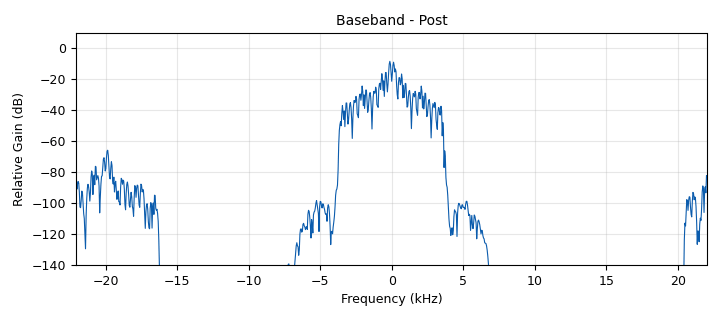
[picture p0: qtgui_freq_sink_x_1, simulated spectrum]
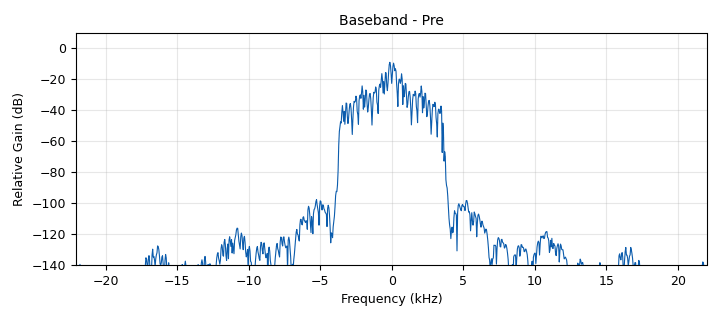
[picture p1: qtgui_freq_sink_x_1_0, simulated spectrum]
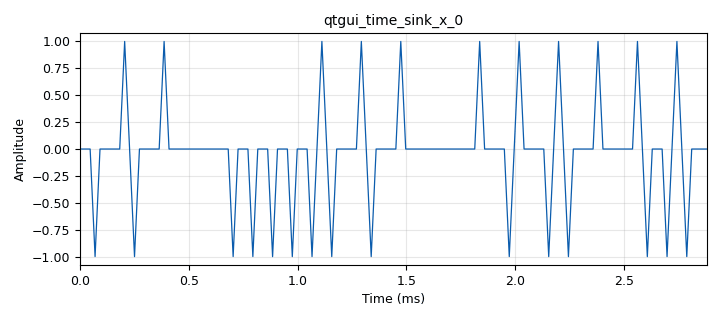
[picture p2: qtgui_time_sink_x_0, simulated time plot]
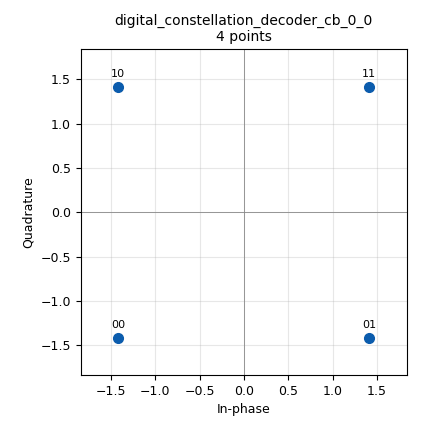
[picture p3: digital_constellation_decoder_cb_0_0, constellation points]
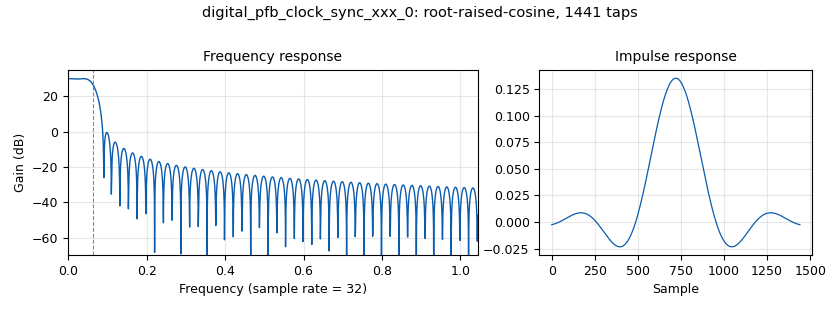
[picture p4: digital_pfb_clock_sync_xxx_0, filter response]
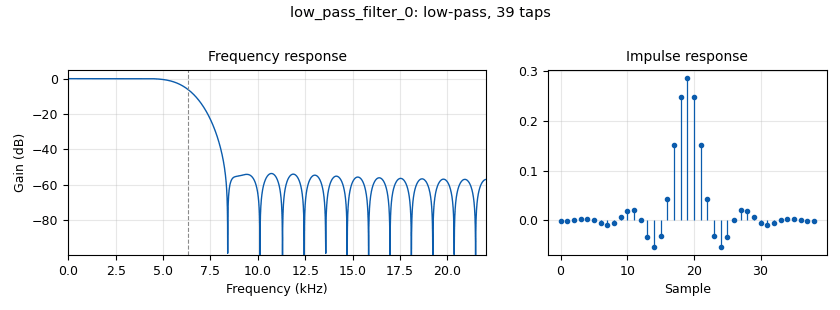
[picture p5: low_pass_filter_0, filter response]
options:
  parameters:
    author: Rosa
    copyright: Apache 2
    generate_options: qt_gui
    id: apay
    output_language: python
    title: apay
  states: {}

blocks:
- name: alpha
  id: variable
  parameters:
    value: '0.35'
  states: {}
- name: delay
  id: variable_qtgui_range
  parameters:
    label: Delay
    orient: Qt.Horizontal
    start: '0'
    step: '1'
    stop: '200'
    value: '50'
  states: {}
- name: eb
  id: variable
  parameters:
    value: '0.25'
  states: {}
- name: eq_gain
  id: variable_qtgui_range
  parameters:
    label: 'Equalizer: rate'
    orient: Qt.Horizontal
    start: '0.0'
    step: '0.001'
    stop: '0.1'
    value: '0.01'
    widget: slider
  states: {state: disabled}
- name: mod_freq
  id: variable
  parameters:
    value: '10000'
  states: {}
- name: nfilts
  id: variable
  parameters:
    value: '32'
  states: {}
- name: ntaps
  id: variable
  parameters:
    value: '45'
  states: {}
- name: qpsk
  id: variable_constellation
  parameters:
    const_points: '[(-3-3j), (-1-3j), (1-3j), (3-3j), (-3-1j), (-1-1j), (1-1j), (3-1j), (-3+1j), (-1+1j), (1+1j), (3+1j), (-3+3j), (-1+3j), (1+3j), (3+3j)]'
    dims: '4'
    precision: '8'
    sym_map: '[0, 4, 12, 8, 1, 5, 13, 9, 3, 7, 15, 11, 2, 6, 14, 10]'
    type: qpsk
  states: {}
- name: rrc_rx
  id: variable
  parameters:
    value: firdes.root_raised_cosine(1, sps, 1, eb, ntaps)
  states: {}
- name: rrc_taps
  id: variable
  parameters:
    value: firdes.root_raised_cosine(nfilts, nfilts, 1.0/float(sps), 0.35, 45*nfilts)
  states: {}
- name: rrc_taps_0
  id: variable
  parameters:
    value: firdes.root_raised_cosine(nfilts, nfilts, 1.0/float(sps), alpha, 11*sps*nfilts)
  states: {}
- name: samp_rate
  id: variable
  parameters:
    value: '44100'
  states: {}
- name: sps
  id: variable
  parameters:
    value: '8'
  states: {}
- name: taps
  id: variable
  parameters:
    value: '[1.0 + 0.0j, ]'
  states: {}
- name: analog_random_source_x_0
  id: analog_random_source_x
  parameters:
    max: '2'
    min: '0'
    num_samps: '1000'
    repeat: 'True'
    type: byte
  states: {}
- name: analog_sig_source_x_0
  id: analog_sig_source_x
  parameters:
    amp: '1.44'
    freq: mod_freq
    offset: '0'
    phase: '0'
    samp_rate: samp_rate
    type: float
    waveform: analog.GR_COS_WAVE
  states: {}
- name: analog_sig_source_x_0_0
  id: analog_sig_source_x
  parameters:
    amp: '-1.44'
    freq: mod_freq
    offset: '0'
    phase: '0'
    samp_rate: samp_rate
    type: float
    waveform: analog.GR_SIN_WAVE
  states: {}
- name: audio_source_0
  id: audio_source
  parameters:
    samp_rate: samp_rate
  states: {state: disabled}
- name: blocks_add_xx_0
  id: blocks_add_xx
  parameters:
    type: float
  states: {}
- name: blocks_char_to_float_0
  id: blocks_char_to_float
  parameters:
    scale: '1'
  states: {state: disabled}
- name: blocks_char_to_float_0_0
  id: blocks_char_to_float
  parameters:
    scale: '1'
  states: {state: disabled}
- name: blocks_char_to_float_0_0_0
  id: blocks_char_to_float
  parameters:
    scale: '1'
  states: {}
- name: blocks_char_to_float_0_0_0_0
  id: blocks_char_to_float
  parameters:
    scale: '1'
  states: {}
- name: blocks_complex_to_imag_0
  id: blocks_complex_to_imag
  parameters: {}
  states: {}
- name: blocks_complex_to_real_0
  id: blocks_complex_to_real
  parameters: {}
  states: {}
- name: blocks_delay_0
  id: blocks_delay
  parameters:
    delay: int(delay)
    type: float
  states: {}
- name: blocks_float_to_complex_1
  id: blocks_float_to_complex
  parameters: {}
  states: {}
- name: blocks_float_to_complex_2
  id: blocks_float_to_complex
  parameters: {}
  states: {}
- name: blocks_float_to_complex_2_0
  id: blocks_float_to_complex
  parameters: {}
  states: {state: disabled}
- name: blocks_multiply_xx_0
  id: blocks_multiply_xx
  parameters:
    type: float
  states: {}
- name: blocks_multiply_xx_0_1
  id: blocks_multiply_xx
  parameters:
    type: float
  states: {}
- name: blocks_multiply_xx_2
  id: blocks_multiply_xx
  parameters:
    type: complex
  states: {}
- name: blocks_sub_xx_0
  id: blocks_sub_xx
  parameters:
    type: float
  states: {}
- name: blocks_throttle_0
  id: blocks_throttle
  parameters:
    samples_per_second: samp_rate
    type: complex
  states: {}
- name: blocks_unpack_k_bits_bb_0
  id: blocks_unpack_k_bits_bb
  parameters:
    k: '8'
  states: {state: disabled}
- name: blocks_unpack_k_bits_bb_0_0
  id: blocks_unpack_k_bits_bb
  parameters:
    k: '2'
  states: {}
- name: blocks_unpack_k_bits_bb_0_0_0
  id: blocks_unpack_k_bits_bb
  parameters:
    k: '8'
  states: {}
- name: blocks_unpack_k_bits_bb_0_0_1
  id: blocks_unpack_k_bits_bb
  parameters:
    k: '2'
  states: {state: disabled}
- name: blocks_vector_source_x_1
  id: blocks_vector_source_x
  parameters:
    repeat: 'True'
    type: byte
    vector: '[5, 1, 5,1]*50'
  states: {state: disabled}
- name: blocks_wavfile_sink_0
  id: blocks_wavfile_sink
  parameters:
    bits_per_sample: '16'
    file: /home/david/apay/test-3.wav
    samp_rate: samp_rate
  states: {state: disabled}
- name: channels_channel_model_0
  id: channels_channel_model
  parameters:
    epsilon: '1'
    freq_offset: '0'
    noise_voltage: '0'
    seed: '0'
    taps: taps
  states: {state: disabled}
- name: digital_cma_equalizer_cc_0
  id: digital_cma_equalizer_cc
  parameters:
    modulus: '1'
    mu: '0.01'
    num_taps: '15'
    sps: '2'
  states: {}
- name: digital_constellation_decoder_cb_0_0
  id: digital_constellation_decoder_cb
  parameters:
    constellation: qpsk
  states: {}
- name: digital_constellation_modulator_0
  id: digital_constellation_modulator
  parameters:
    constellation: qpsk
    differential: 'True'
    excess_bw: alpha
    samples_per_symbol: sps
  states: {}
- name: digital_constellation_receiver_cb_0
  id: digital_constellation_receiver_cb
  parameters:
    constellation: qpsk
    fmax: '1.5'
    fmin: '0.5'
    loop_bw: '0.06'
  states: {state: disabled}
- name: digital_costas_loop_cc_0
  id: digital_costas_loop_cc
  parameters:
    order: '4'
    w: '0.628'
  states: {}
- name: digital_diff_decoder_bb_0_0
  id: digital_diff_decoder_bb
  parameters:
    modulus: '4'
  states: {}
- name: digital_map_bb_0
  id: digital_map_bb
  parameters:
    map: '[0,1,2,3]'
  states: {}
- name: digital_map_bb_0_0
  id: digital_map_bb
  parameters:
    map: '[0,1,2,3]'
  states: {state: disabled}
- name: digital_pfb_clock_sync_xxx_0
  id: digital_pfb_clock_sync_xxx
  parameters:
    filter_size: nfilts
    init_phase: nfilts/2
    loop_bw: '0.628'
    max_dev: '1.5'
    osps: '1'
    sps: sps
    taps: rrc_taps
    type: ccf
  states: {}
- name: digital_symbol_sync_xx_0
  id: digital_symbol_sync_xx
  parameters:
    damping: '1.0'
    loop_bw: '0.045'
    max_dev: '1.5'
    osps: '1'
    resamp_type: digital.IR_MMSE_8TAP
    sps: sps
    ted_gain: '1.0'
    ted_type: digital.TED_MUELLER_AND_MULLER
    type: cc
  states: {state: disabled}
- name: epy_block_0
  id: epy_block
  parameters:
    _source_code: |
      import numpy as np
      from gnuradio import gr

      import pmt
      import base64


      class blk(
          gr.sync_block
      ):  # other base classes are basic_block, decim_block, interp_block
          """Embedded Python Block example - a simple multiply const"""

          def __init__(self):  # only default arguments here
              """arguments to this function show up as parameters in GRC"""
              gr.sync_block.__init__(
                  self,
                  name="Embedded Python Block",  # will show up in GRC
                  in_sig=None,
                  out_sig=[np.ubyte],
              )
              self.message_port_register_in(pmt.intern("msg_in"))
              self.set_msg_handler(pmt.intern("msg_in"), self.handle_msg)

              # if an attribute with the same name as a parameter is found,
              # a callback is registered (properties work, too).
              # self.toSend = np.array([], dtype=np.uint8)
              self.toSend = []

          def handle_msg(self, msg):
              # temp = pmt.symbol_to_string(msg)
              # print(temp)
              # out = np.frombuffer(
              #     base64.binascii.a2b_base64(temp.encode("ascii")), dtype=np.ubyte
              # )
              # self.toSend = np.append(self.toSend, out)
              t = pmt.to_python(msg)
              try:
                  self.toSend.extend(t)
              except TypeError:
                  self.toSend = t

          def work(self, input_items, output_items):
              try:
                  toSendSize = len(self.toSend)
              except TypeError:
                  toSendSize = 0
              if toSendSize == 0:
                  return 0

              for i, byteToSend in enumerate(self.toSend):
                  output_items[0][i] = byteToSend
                  # for x in range(8):
                  #     output_items[0][x + i * 8] = (byteToSend >> x) & 1
                  # print(byteToSend)

              self.toSend = []
              return toSendSize
  states: {state: disabled}
- name: fir_filter_xxx_0
  id: fir_filter_xxx
  parameters:
    decim: '1'
    taps: rrc_rx
    type: ccf
  states: {state: disabled}
- name: low_pass_filter_0
  id: low_pass_filter
  parameters:
    cutoff_freq: (samp_rate//(sps-1))
    decim: '1'
    gain: '1'
    samp_rate: samp_rate
    type: fir_filter_ccf
    width: (samp_rate//(2*sps))
    win: firdes.WIN_HAMMING
  states: {}
- name: qtgui_const_sink_x_1
  id: qtgui_const_sink_x
  parameters:
    nconnections: '2'
    size: '1024'
    type: complex
  states: {state: disabled}
- name: qtgui_const_sink_x_1_0
  id: qtgui_const_sink_x
  parameters:
    size: '2048'
    type: complex
  states: {state: disabled}
- name: qtgui_freq_sink_x_0
  id: qtgui_freq_sink_x
  parameters:
    bw: samp_rate
    fc: '0'
    fftsize: '1024'
    nconnections: '2'
    type: complex
    wintype: firdes.WIN_BLACKMAN_hARRIS
  states: {state: disabled}
- name: qtgui_freq_sink_x_1
  id: qtgui_freq_sink_x
  parameters:
    bw: samp_rate
    fc: '0'
    fftsize: '1024'
    name: '"Baseband - Post"'
    type: complex
    wintype: firdes.WIN_BLACKMAN_hARRIS
  states: {}
- name: qtgui_freq_sink_x_1_0
  id: qtgui_freq_sink_x
  parameters:
    bw: samp_rate
    fc: '0'
    fftsize: '1024'
    name: '"Baseband - Pre"'
    type: complex
    wintype: firdes.WIN_BLACKMAN_hARRIS
  states: {}
- name: qtgui_time_sink_x_0
  id: qtgui_time_sink_x
  parameters:
    size: '128'
    srate: samp_rate
    type: float
  states: {}
- name: qtgui_time_sink_x_1
  id: qtgui_time_sink_x
  parameters:
    nconnections: '2'
    size: '1024'
    srate: samp_rate
    type: float
  states: {state: disabled}
- name: qtgui_time_sink_x_1_0
  id: qtgui_time_sink_x
  parameters:
    size: '1024'
    srate: samp_rate
    type: float
  states: {state: disabled}
- name: wav_source
  id: blocks_wavfile_source
  parameters:
    file: /home/david/apay/test-3.wav
    repeat: 'True'
  states: {state: disabled}
- name: zeromq_pub_sink_0
  id: zeromq_pub_sink
  parameters:
    address: tcp://127.0.0.1:4030
    timeout: '100'
    type: byte
  states: {state: disabled}
- name: zeromq_sub_msg_source_0
  id: zeromq_sub_msg_source
  parameters:
    address: tcp://127.0.0.1:4020
    timeout: '100'
  states: {state: disabled}

connections:
- [analog_random_source_x_0, '0', blocks_unpack_k_bits_bb_0_0_0, '0']
- [analog_random_source_x_0, '0', digital_constellation_modulator_0, '0']
- [analog_sig_source_x_0, '0', blocks_float_to_complex_1, '0']
- [analog_sig_source_x_0, '0', blocks_multiply_xx_0, '1']
- [analog_sig_source_x_0_0, '0', blocks_float_to_complex_1, '1']
- [analog_sig_source_x_0_0, '0', blocks_multiply_xx_0_1, '1']
- [audio_source_0, '0', blocks_float_to_complex_2_0, '0']
- [blocks_add_xx_0, '0', blocks_float_to_complex_2, '0']
- [blocks_add_xx_0, '0', blocks_wavfile_sink_0, '0']
- [blocks_char_to_float_0, '0', qtgui_time_sink_x_1, '1']
- [blocks_char_to_float_0_0, '0', qtgui_time_sink_x_1, '0']
- [blocks_char_to_float_0_0, '0', qtgui_time_sink_x_1_0, '0']
- [blocks_char_to_float_0_0_0, '0', blocks_sub_xx_0, '1']
- [blocks_char_to_float_0_0_0_0, '0', blocks_delay_0, '0']
- [blocks_complex_to_imag_0, '0', blocks_multiply_xx_0_1, '0']
- [blocks_complex_to_real_0, '0', blocks_multiply_xx_0, '0']
- [blocks_delay_0, '0', blocks_sub_xx_0, '0']
- [blocks_float_to_complex_1, '0', blocks_multiply_xx_2, '1']
- [blocks_float_to_complex_2, '0', blocks_multiply_xx_2, '0']
- [blocks_float_to_complex_2, '0', channels_channel_model_0, '0']
- [blocks_float_to_complex_2_0, '0', blocks_multiply_xx_2, '0']
- [blocks_multiply_xx_0, '0', blocks_add_xx_0, '0']
- [blocks_multiply_xx_0_1, '0', blocks_add_xx_0, '1']
- [blocks_multiply_xx_2, '0', blocks_throttle_0, '0']
- [blocks_sub_xx_0, '0', qtgui_time_sink_x_0, '0']
- [blocks_throttle_0, '0', low_pass_filter_0, '0']
- [blocks_unpack_k_bits_bb_0, '0', blocks_char_to_float_0, '0']
- [blocks_unpack_k_bits_bb_0_0, '0', blocks_char_to_float_0_0, '0']
- [blocks_unpack_k_bits_bb_0_0, '0', blocks_char_to_float_0_0_0, '0']
- [blocks_unpack_k_bits_bb_0_0, '0', zeromq_pub_sink_0, '0']
- [blocks_unpack_k_bits_bb_0_0_0, '0', blocks_char_to_float_0_0_0_0, '0']
- [blocks_unpack_k_bits_bb_0_0_1, '0', blocks_char_to_float_0_0_0_0, '0']
- [blocks_vector_source_x_1, '0', blocks_unpack_k_bits_bb_0, '0']
- [blocks_vector_source_x_1, '0', blocks_unpack_k_bits_bb_0_0_0, '0']
- [blocks_vector_source_x_1, '0', digital_constellation_modulator_0, '0']
- [channels_channel_model_0, '0', blocks_multiply_xx_2, '0']
- [digital_cma_equalizer_cc_0, '0', digital_costas_loop_cc_0, '0']
- [digital_constellation_decoder_cb_0_0, '0', digital_diff_decoder_bb_0_0, '0']
- [digital_constellation_modulator_0, '0', blocks_complex_to_imag_0, '0']
- [digital_constellation_modulator_0, '0', blocks_complex_to_real_0, '0']
- [digital_constellation_modulator_0, '0', qtgui_const_sink_x_1, '0']
- [digital_constellation_modulator_0, '0', qtgui_freq_sink_x_0, '0']
- [digital_constellation_modulator_0, '0', qtgui_freq_sink_x_1_0, '0']
- [digital_constellation_receiver_cb_0, '0', digital_map_bb_0_0, '0']
- [digital_costas_loop_cc_0, '0', digital_constellation_decoder_cb_0_0, '0']
- [digital_costas_loop_cc_0, '0', qtgui_const_sink_x_1_0, '0']
- [digital_costas_loop_cc_0, '0', qtgui_freq_sink_x_0, '1']
- [digital_diff_decoder_bb_0_0, '0', digital_map_bb_0, '0']
- [digital_map_bb_0, '0', blocks_unpack_k_bits_bb_0_0, '0']
- [digital_map_bb_0_0, '0', blocks_unpack_k_bits_bb_0_0_1, '0']
- [digital_pfb_clock_sync_xxx_0, '0', digital_cma_equalizer_cc_0, '0']
- [digital_pfb_clock_sync_xxx_0, '0', qtgui_freq_sink_x_0, '1']
- [digital_symbol_sync_xx_0, '0', qtgui_const_sink_x_1_0, '0']
- [digital_symbol_sync_xx_0, '0', qtgui_freq_sink_x_1, '0']
- [epy_block_0, '0', blocks_unpack_k_bits_bb_0, '0']
- [epy_block_0, '0', blocks_unpack_k_bits_bb_0_0_0, '0']
- [epy_block_0, '0', digital_constellation_modulator_0, '0']
- [fir_filter_xxx_0, '0', digital_symbol_sync_xx_0, '0']
- [low_pass_filter_0, '0', digital_constellation_receiver_cb_0, '0']
- [low_pass_filter_0, '0', digital_pfb_clock_sync_xxx_0, '0']
- [low_pass_filter_0, '0', fir_filter_xxx_0, '0']
- [low_pass_filter_0, '0', qtgui_freq_sink_x_1, '0']
- [wav_source, '0', blocks_float_to_complex_2_0, '0']
- [zeromq_sub_msg_source_0, out, epy_block_0, msg_in]

metadata:
  file_format: 1
